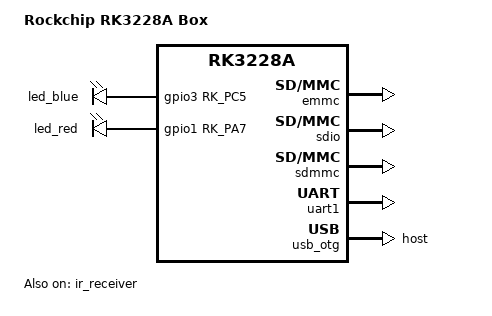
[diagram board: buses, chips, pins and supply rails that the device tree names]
// SPDX-License-Identifier: (GPL-2.0+ OR MIT)

/dts-v1/;
#include "rk3228a-box.dtsi"

/ {
	model = "Rockchip RK3228A Box";

	leds {
		compatible = "gpio-leds";

		led_blue {
			gpios = <&gpio3 RK_PC5 GPIO_ACTIVE_HIGH>;
			default-state = "on";
		};

		led_red {
			gpios = <&gpio1 RK_PA7 GPIO_ACTIVE_HIGH>;
			default-state = "off";
		};
	};

};

&emmc {
	status = "okay";
};

&ir_receiver {
	status = "okay";
};

&sdio {
	status = "okay";
};

&sdmmc {
	status = "okay";
};

&uart1 {
	status = "okay";
};

&usb_otg {
        dr_mode = "host";
};
